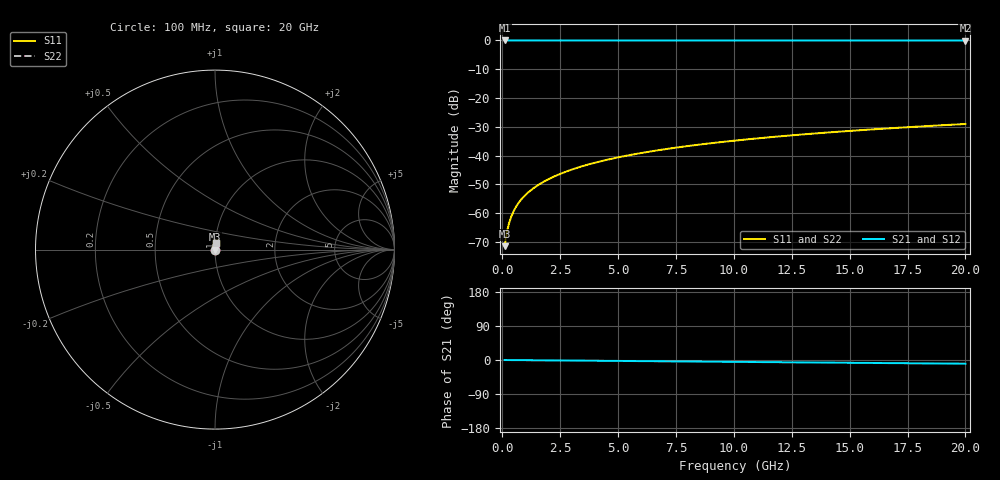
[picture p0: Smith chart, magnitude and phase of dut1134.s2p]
! Touchstone file exported from HFSS 2026.1.0
!  File:  C:/ffzhzh/LocalFiles/Ansys_Project_Files/temp_train_TSV_1134_1783191203_22436.aedt
!  Generated:  02:55:03 AM Jul  5, 2026
!  Design:  TSV
!  Project:  temp_train_TSV_1134_1783191203_22436
! Variables:
!  h_bsmrdl = 2um
!  h_ox = 20um
!  h_rdl = 5um
!  h_sub = 95.12um
!  h_tmrdl = 5um
!  h_tsv = 95.12um
!  h_via = 3um
!  l_bsmrdl = 300um
!  l_sub = 419.88um
!  l_tmrdl = 200um
!  m_sub = 200um
!  pitch = 51.9um
!  r_tsv = 9.94um
!  s_tmrdl = 10um
!  w_bsmrdl = 18um
!  w_sub = 500um
!  w_tmrdl = 12um
!  x_tsv_center1 = 206um
!  x_tsv_center2 = 524um
!  x_tsv_center3 = 736um
!  x_tsv_center4 = 1054um
!  x_tsv_center5 = 1266um
!  x_tsv_center6 = 1584um
# GHz S MA R 50.000000
! Terminal data exported
! Port[1] = TSV1_1_T1
! Port[2] = TSV1_1_T2
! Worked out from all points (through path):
!   200 points, 100 MHz to 20 GHz, reference 50 ohm
!   highest |S21| = 0.00 dB at 100 MHz (marker M1); lowest = 0.0 dB at 20 GHz (marker M2)
!   group delay of S21, straight-line fit = 1.35 ps
!   lowest |S11| = -71.5 dB at 100 MHz (marker M3), VSWR 1.00, Z = 50 + j0.0225 ohm
!   |S11| at or under -10 dB: start of sweep to end of sweep
!   |S22| runs from -71.5 to -29.0 dB; largest |S21 - S12| = 5.4e-15
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0.1  0.0002674 57.3  0.9999 -0.1  0.9999 -0.1  0.0002674 57.3
! Gamma 0 0 0 0
! Port Impedance 50 0 50 0
0.2  0.0004742 70.6  0.9998 -0.1  0.9998 -0.1  0.0004742 70.6
0.3  0.000688 75.1  0.9998 -0.2  0.9998 -0.2  0.000688 75.1
0.4  0.0008992 77.1  0.9998 -0.2  0.9998 -0.2  0.0008992 77.1
0.5  0.001106 78.1  0.9998 -0.3  0.9998 -0.3  0.001106 78.1
0.6  0.001307 78.7  0.9998 -0.3  0.9998 -0.3  0.001307 78.7
0.7  0.001504 79.2  0.9997 -0.4  0.9997 -0.4  0.001504 79.2
0.8  0.001697 79.5  0.9997 -0.4  0.9997 -0.4  0.001697 79.5
1  0.002074 80.1  0.9997 -0.5  0.9997 -0.5  0.002074 80.1
1.4  0.002811 81.0  0.9996 -0.7  0.9996 -0.7  0.002811 81.0
1.7  0.003358 81.6  0.9995 -0.8  0.9995 -0.8  0.003358 81.6
2  0.003904 82.0  0.9995 -1.0  0.9995 -1.0  0.003904 82.0
2.7  0.005175 82.7  0.9994 -1.3  0.9994 -1.3  0.005175 82.7
3.5  0.006625 83.0  0.9994 -1.7  0.9994 -1.7  0.006624 83.0
4.2  0.007886 83.1  0.9993 -2.1  0.9993 -2.1  0.007886 83.1
5  0.00932 83.1  0.9992 -2.5  0.9992 -2.5  0.00932 83.1
6.8  0.01252 82.8  0.9991 -3.3  0.9991 -3.3  0.01252 82.8
8.3  0.01516 82.4  0.9989 -4.1  0.9989 -4.1  0.01516 82.4
10.1  0.01832 81.8  0.9988 -5.0  0.9988 -5.0  0.01832 81.8
13.4  0.02407 80.6  0.9985 -6.6  0.9985 -6.6  0.02407 80.6
16.7  0.02977 79.3  0.9982 -8.2  0.9982 -8.2  0.02977 79.3
20  0.0354 77.9  0.9979 -9.8  0.9979 -9.8  0.0354 77.9
